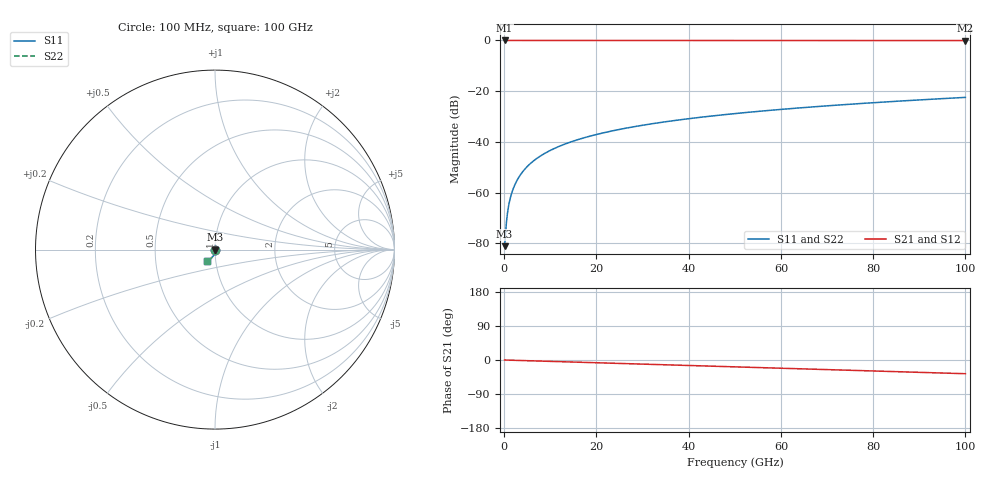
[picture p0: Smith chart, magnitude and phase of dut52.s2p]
! Touchstone file exported from HFSS 2026.1.0
!  File:  C:/ffzhzh/LocalFiles/Ansys_Project_Files/temp_train_TSV_52_1783504965_9504.aedt
!  Generated:  06:04:00 PM Jul  8, 2026
!  Design:  TSV
!  Project:  temp_train_TSV_52_1783504965_9504
! Variables:
!  h_bsmrdl = 2um
!  h_ox = 20um
!  h_rdl = 5um
!  h_sub = 71.08um
!  h_tmrdl = 5um
!  h_tsv = 71.08um
!  h_via = 3um
!  l_bsmrdl = 300um
!  l_sub = 425.66um
!  l_tmrdl = 200um
!  m_sub = 200um
!  pitch = 45.96um
!  r_tsv = 12.83um
!  s_tmrdl = 10um
!  w_bsmrdl = 18um
!  w_sub = 500um
!  w_tmrdl = 12um
!  x_tsv_center1 = 206um
!  x_tsv_center2 = 524um
!  x_tsv_center3 = 736um
!  x_tsv_center4 = 1054um
!  x_tsv_center5 = 1266um
!  x_tsv_center6 = 1584um
# GHz S MA R 50.000000
! Terminal data exported
! Port[1] = TSV1_1_T1
! Port[2] = TSV1_1_T2
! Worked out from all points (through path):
!   1000 points, 100 MHz to 100 GHz, reference 50 ohm
!   highest |S21| = 0.00 dB at 100 MHz (marker M1); lowest = 0.0 dB at 100 GHz (marker M2)
!   group delay of S21, straight-line fit = 1 ps
!   lowest |S11| = -81.1 dB at 100 MHz (marker M3), VSWR 1.00, Z = 50 - j0.00317 ohm
!   |S11| at or under -10 dB: start of sweep to end of sweep
!   |S22| runs from -81.1 to -22.4 dB; largest |S21 - S12| = 8.4e-15
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0.1  8.83e-05 -21.0  0.9999 -0.0  0.9999 -0.0  8.83e-05 -21.0
! Gamma 0 0 0 0
! Port Impedance 50 0 50 0
0.4  0.0002083 -50.1  0.9999 -0.2  0.9999 -0.2  0.0002083 -50.1
0.8  0.0004448 -63.3  0.9998 -0.3  0.9998 -0.3  0.0004448 -63.3
1  0.0005709 -67.1  0.9998 -0.4  0.9998 -0.4  0.0005709 -67.1
1.2  0.0006985 -69.8  0.9998 -0.4  0.9998 -0.4  0.0006985 -69.8
1.5  0.0008919 -72.8  0.9997 -0.6  0.9997 -0.6  0.0008919 -72.8
2  0.001219 -75.9  0.9997 -0.7  0.9997 -0.7  0.001219 -75.9
2.6  0.001619 -78.2  0.9996 -1.0  0.9996 -1.0  0.001619 -78.2
3.3  0.002094 -80.1  0.9996 -1.2  0.9996 -1.2  0.002094 -80.1
4.1  0.002645 -81.6  0.9995 -1.5  0.9995 -1.5  0.002645 -81.6
5.1  0.003341 -83.2  0.9995 -1.9  0.9995 -1.9  0.003341 -83.2
6.2  0.004112 -84.5  0.9994 -2.3  0.9994 -2.3  0.004112 -84.5
9  0.006092 -86.9  0.9993 -3.3  0.9993 -3.3  0.006092 -86.9
12.5  0.008596 -89.2  0.9992 -4.5  0.9992 -4.5  0.008596 -89.2
16.8  0.01169 -91.5  0.999 -6.1  0.999 -6.1  0.0117 -91.5
24.1  0.017 -95.0  0.9987 -8.7  0.9987 -8.7  0.017 -95.0
33.4  0.02382 -98.9  0.9984 -12.1  0.9984 -12.1  0.02382 -98.9
41.2  0.0296 -102.1  0.9981 -14.9  0.9981 -14.9  0.0296 -102.1
50.1  0.03627 -105.6  0.9977 -18.1  0.9977 -18.1  0.03627 -105.6
66.7  0.04892 -112.0  0.9969 -24.1  0.9969 -24.1  0.04892 -112.0
83.4  0.06202 -118.4  0.9958 -30.1  0.9958 -30.1  0.06202 -118.4
100  0.07552 -124.7  0.9945 -36.2  0.9945 -36.2  0.07552 -124.7
